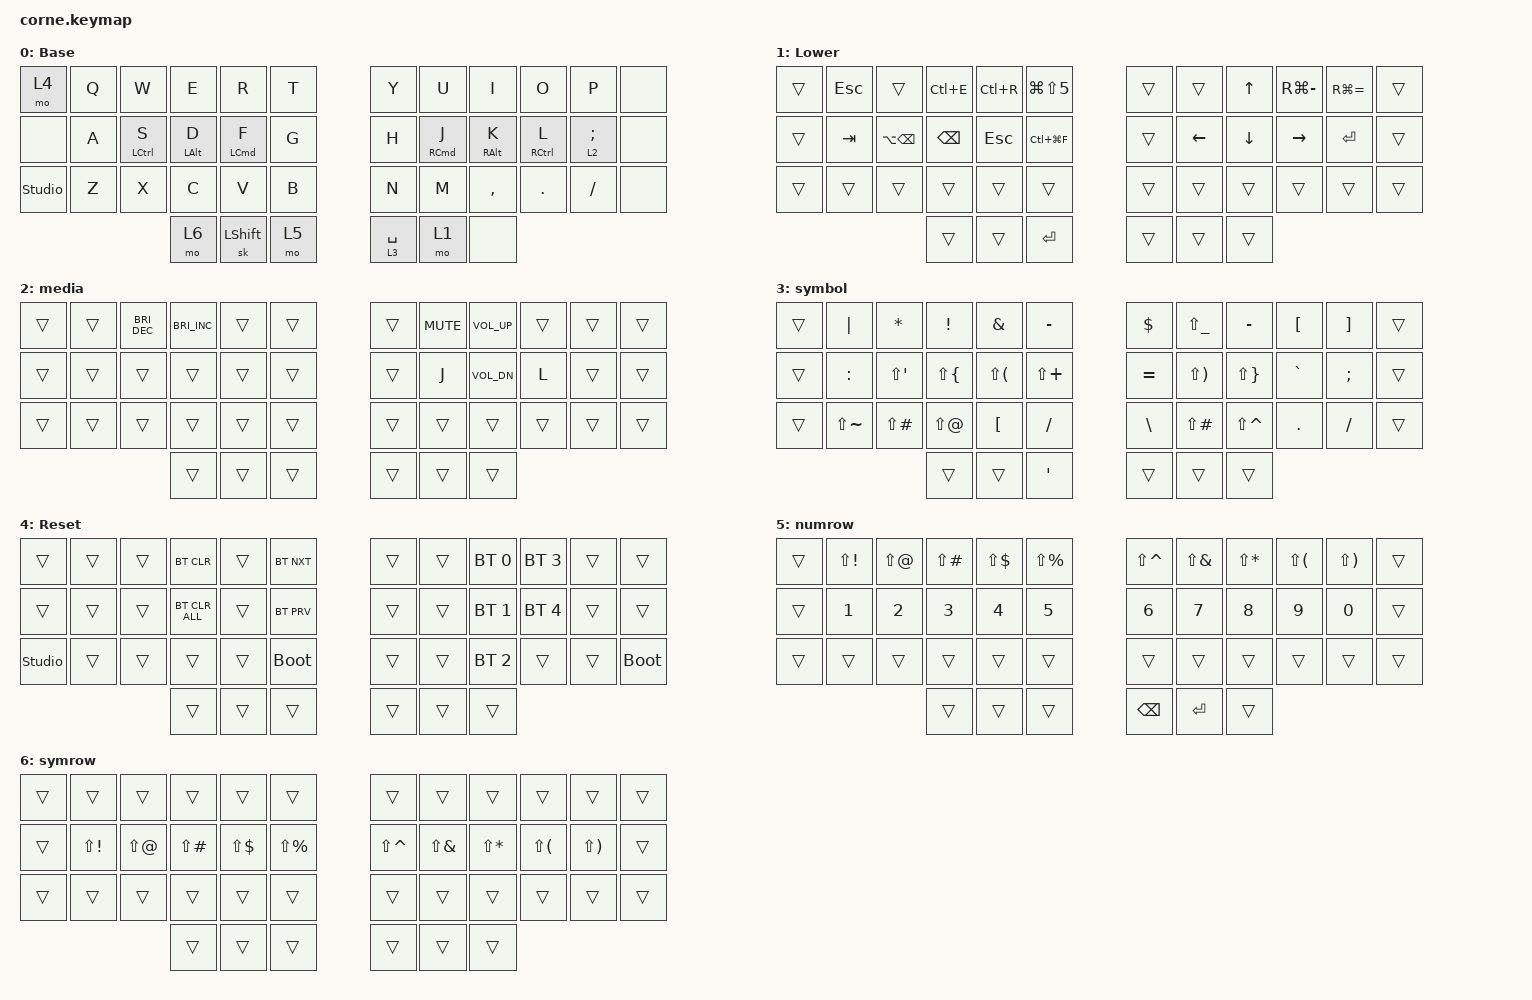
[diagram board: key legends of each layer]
/*
 * Copyright (c) 2020 The ZMK Contributors
 *
 * SPDX-License-Identifier: MIT
 */

#include <behaviors.dtsi>
#include <dt-bindings/zmk/bt.h>
#include <dt-bindings/zmk/keys.h>

/ {
    behaviors {
        homerow_mods: homerow_mods {
            compatible = "zmk,behavior-hold-tap";
            label = "HOMEROW_MODS";
            bindings = <&kp>, <&kp>;

            #binding-cells = <2>;
            tapping-term-ms = <200>;
            flavor = "tap-preferred";
        };
    };

    keymap {
        compatible = "zmk,keymap";

        base {
            // -----------------------------------------------------------------------------------------
            // |  TAB |  Q  |  W  |  E  |  R  |  T  |   |  Y  |  U   |  I  |  O  |  P  | BKSP |
            // | CTRL |  A  |  S  |  D  |  F  |  G  |   |  H  |  J   |  K  |  L  |  ;  |  '   |
            // | SHFT |  Z  |  X  |  C  |  V  |  B  |   |  N  |  M   |  ,  |  .  |  /  | ESC  |
            //                    | GUI | LWR | SPC |   | ENT | RSE  | ALT |

            display-name = "Base";
            bindings = <
&mo 4           &kp Q  &kp W                         &kp E                     &kp R                         &kp T    &kp Y        &kp U                          &kp I                      &kp O                          &kp P       &none
&none           &kp A  &homerow_mods LEFT_CONTROL S  &homerow_mods LEFT_ALT D  &homerow_mods LEFT_COMMAND F  &kp G    &kp H        &homerow_mods RIGHT_COMMAND J  &homerow_mods RIGHT_ALT K  &homerow_mods RIGHT_CONTROL L  &lt 2 SEMI  &none
&studio_unlock  &kp Z  &kp X                         &kp C                     &kp V                         &kp B    &kp N        &kp M                          &kp COMMA                  &kp DOT                        &kp FSLH    &none
                                                     &mo 6                     &sk LEFT_SHIFT                &mo 5    &lt 3 SPACE  &mo 1                          &none
            >;
        };

        nav {
            // -----------------------------------------------------------------------------------------
            // |  TAB |  1  |  2  |  3  |  4  |  5  |   |  6  |  7  |  8  |  9  |  0  | BKSP |
            // | BTCLR| BT1 | BT2 | BT3 | BT4 | BT5 |   | LFT | DWN |  UP | RGT |     |      |
            // | SHFT |     |     |     |     |     |   |     |     |     |     |     |      |
            //                    | GUI |     | SPC |   | ENT |     | ALT |

            display-name = "Lower";
            bindings = <
&trans  &kp ESCAPE  &trans             &kp LC(E)      &kp LC(R)   &kp LG(LS(N5))    &trans  &trans          &kp UP_ARROW  &kp RG(MINUS)  &kp RG(EQUAL)  &trans
&trans  &kp TAB     &kp LA(BACKSPACE)  &kp BACKSPACE  &kp ESCAPE  &kp LC(LG(F))     &trans  &kp LEFT_ARROW  &kp DOWN      &kp RIGHT      &kp ENTER      &trans
&trans  &trans      &trans             &trans         &trans      &trans            &trans  &trans          &trans        &trans         &trans         &trans
                                       &trans         &trans      &kp ENTER         &trans  &trans          &trans
            >;
        };

        media {
            bindings = <
&trans  &trans  &kp C_BRIGHTNESS_DEC  &kp C_BRIGHTNESS_INC  &trans  &trans    &trans  &kp K_MUTE  &kp C_VOLUME_UP  &trans  &trans  &trans
&trans  &trans  &trans                &trans                &trans  &trans    &trans  &kp J       &kp C_VOL_DN     &kp L   &trans  &trans
&trans  &trans  &trans                &trans                &trans  &trans    &trans  &trans      &trans           &trans  &trans  &trans
                                      &trans                &trans  &trans    &trans  &trans      &trans
            >;
        };

        symbol {
            bindings = <
&trans  &kp PIPE       &kp ASTRK             &kp EXCL      &kp AMPS      &kp MINUS           &kp DOLLAR  &kp LS(UNDER)  &kp MINUS      &kp LBKT   &kp RBKT  &trans
&trans  &kp COLON      &kp LS(SINGLE_QUOTE)  &kp LS(LBRC)  &kp LS(LPAR)  &kp LS(PLUS)        &kp EQUAL   &kp LS(RPAR)   &kp LS(RBRC)   &kp GRAVE  &kp SEMI  &trans
&trans  &kp LS(TILDE)  &kp LS(POUND)         &kp LS(AT)    &kp LBKT      &kp FSLH            &kp BSLH    &kp LS(POUND)  &kp LS(CARET)  &kp DOT    &kp FSLH  &trans
                                             &trans        &trans        &kp SINGLE_QUOTE    &trans      &trans         &trans
            >;
        };

        Reset {
            bindings = <
&trans          &trans  &trans  &bt BT_CLR      &trans  &bt BT_NXT     &trans  &trans  &bt BT_SEL 0  &bt BT_SEL 3  &trans  &trans
&trans          &trans  &trans  &bt BT_CLR_ALL  &trans  &bt BT_PRV     &trans  &trans  &bt BT_SEL 1  &bt BT_SEL 4  &trans  &trans
&studio_unlock  &trans  &trans  &trans          &trans  &bootloader    &trans  &trans  &bt BT_SEL 2  &trans        &trans  &bootloader
                                &trans          &trans  &trans         &trans  &trans  &trans
            >;
        };

        numrow {
            bindings = <
&trans  &kp LS(EXCL)  &kp LS(AT)  &kp LS(POUND)  &kp LS(DLLR)  &kp LS(PRCNT)    &kp LS(CARET)  &kp LS(AMPS)  &kp LS(STAR)  &kp LS(LPAR)  &kp LS(RIGHT_PARENTHESIS)  &trans
&trans  &kp N1        &kp N2      &kp N3         &kp N4        &kp N5           &kp N6         &kp N7        &kp N8        &kp N9        &kp N0                     &trans
&trans  &trans        &trans      &trans         &trans        &trans           &trans         &trans        &trans        &trans        &trans                     &trans
                                  &trans         &trans        &trans           &kp BACKSPACE  &kp ENTER     &trans
            >;
        };

        symrow {
            bindings = <
&trans  &trans        &trans      &trans         &trans        &trans           &trans         &trans        &trans        &trans        &trans        &trans
&trans  &kp LS(EXCL)  &kp LS(AT)  &kp LS(POUND)  &kp LS(DLLR)  &kp LS(PRCNT)    &kp LS(CARET)  &kp LS(AMPS)  &kp LS(STAR)  &kp LS(LPAR)  &kp LS(RPAR)  &trans
&trans  &trans        &trans      &trans         &trans        &trans           &trans         &trans        &trans        &trans        &trans        &trans
                                  &trans         &trans        &trans           &trans         &trans        &trans
            >;
        };
    };
};
